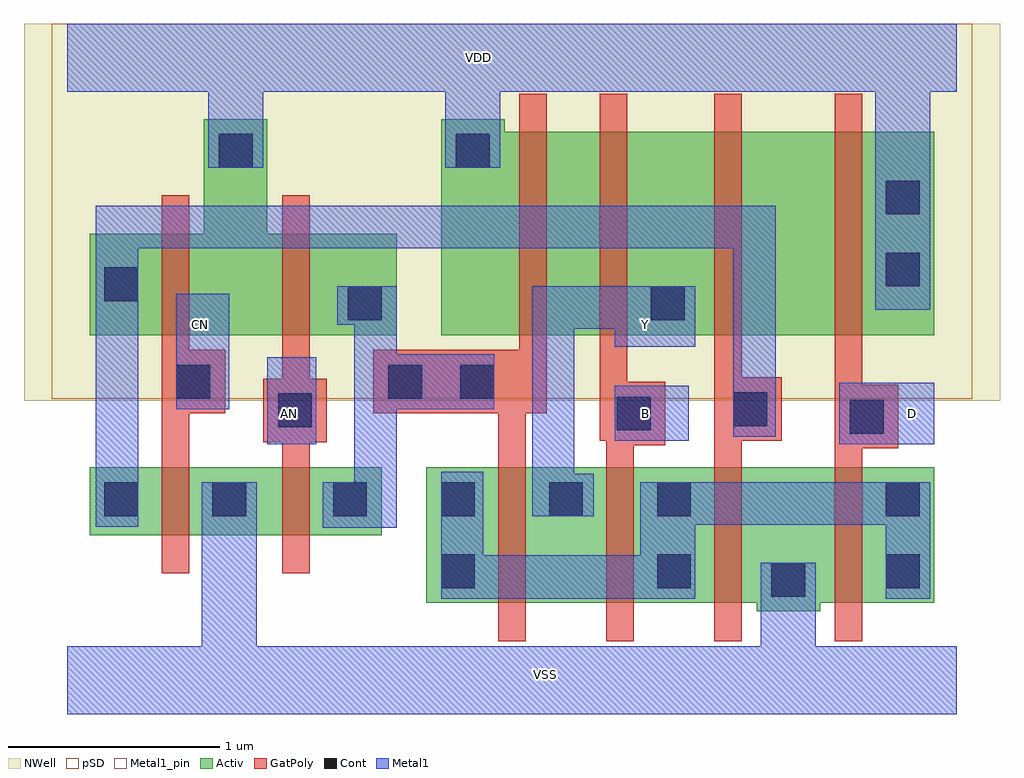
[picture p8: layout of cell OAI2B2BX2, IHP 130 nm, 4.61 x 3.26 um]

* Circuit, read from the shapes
.subckt OAI2B2BX2 AN B CN D VDD VSS Y
XM1 VSS CN n1 VSUBS sg13_lv_nmos w=0.32u l=0.13u
XM2 n2 AN VSS VSUBS sg13_lv_nmos w=0.32u l=0.13u
XM3 Y n2 n3 VSUBS sg13_lv_nmos w=0.64u l=0.13u
XM4 n3 B Y VSUBS sg13_lv_nmos w=0.64u l=0.13u
XM5 VSS n1 n3 VSUBS sg13_lv_nmos w=0.64u l=0.13u
XM6 n3 D VSS VSUBS sg13_lv_nmos w=0.64u l=0.13u
XM7 VDD CN n1 n4 sg13_lv_pmos w=0.48u l=0.13u
XM8 n2 AN VDD n4 sg13_lv_pmos w=0.48u l=0.13u
XM9 n5 n2 VDD n4 sg13_lv_pmos w=0.96u l=0.13u
XM10 Y B n5 n4 sg13_lv_pmos w=0.96u l=0.13u
XM11 n6 n1 Y n4 sg13_lv_pmos w=0.96u l=0.13u
XM12 VDD D n6 n4 sg13_lv_pmos w=0.96u l=0.13u
.ends

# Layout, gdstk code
import gdstk
lib = gdstk.Library(unit=1e-6, precision=1e-09)
def R(c, l, rs):  # rectangles x0, y0, x1, y1
    for r in rs: c.add(gdstk.rectangle(r[:2], r[2:], *l))
def A(c, l, x, y, w, h, nx, ny, dx, dy):  # array of equal rectangles
    R(c, l, [(x+i*dx, y+j*dy, x+i*dx+w, y+j*dy+h) for i in range(nx) for j in range(ny)])
def P(c, l, *ps):  # polygons
    for p in ps: c.add(gdstk.Polygon(p, *l))
Activ = (1, 0)
GatPoly = (5, 0)
Cont = (6, 0)
Metal1 = (8, 0)
Metal1_pin = (8, 2)
pSD = (14, 0)
NWell = (31, 0)

oai2b2bx2 = lib.new_cell('OAI2B2BX2')
R(oai2b2bx2, Activ, [(0.105,0.685,1.485,1.005)])
P(oai2b2bx2, Activ, [(3.255,0.325),(3.255,0.365),(1.695,0.365),(1.695,1.005),(4.095,1.005),(4.095,0.365),(3.555,0.365),(3.555,0.325)],
  [(1.765,1.63),(1.765,2.65),(2.065,2.65),(2.065,2.59),(4.095,2.59),(4.095,1.63)],
  [(0.105,1.63),(0.105,2.11),(0.645,2.11),(0.645,2.65),(0.945,2.65),(0.945,2.11),(1.555,2.11),(1.555,1.63)])
P(oai2b2bx2, GatPoly, [(3.625,0.185),(3.625,2.77),(3.755,2.77),(3.755,1.395),(3.925,1.395),(3.925,1.095),(3.755,1.095),(3.755,0.185)],
  [(2.545,0.185),(2.545,1.13),(2.515,1.13),(2.515,2.77),(2.645,2.77),(2.645,1.41),(2.825,1.41),(2.825,1.11),(2.675,1.11),(2.675,0.185)],
  [(1.015,0.505),(1.015,1.125),(0.925,1.125),(0.925,1.425),(1.015,1.425),(1.015,2.29),(1.145,2.29),(1.145,1.425),(1.225,1.425),(1.225,1.125),(1.145,1.125),(1.145,0.505)],
  [(0.445,0.505),(0.445,2.29),(0.575,2.29),(0.575,1.56),(0.745,1.56),(0.745,1.26),(0.575,1.26),(0.575,0.505)],
  [(3.055,0.185),(3.055,2.77),(3.185,2.77),(3.185,1.43),(3.375,1.43),(3.375,1.13),(3.185,1.13),(3.185,0.185)],
  [(2.035,0.185),(2.035,1.26),(1.445,1.26),(1.445,1.56),(2.135,1.56),(2.135,2.77),(2.265,2.77),(2.265,1.26),(2.165,1.26),(2.165,0.185)])
A(oai2b2bx2, Cont, 1.255, 0.775, 0.16, 0.16, 4, 1, 0.51, 0)
R(oai2b2bx2, Cont, [(3.325,0.395,3.485,0.555), (1.765,0.435,1.925,0.595), (2.785,0.435,2.945,0.595), (3.865,0.435,4.025,0.595), (0.175,0.775,0.335,0.935), (0.685,0.775,0.845,0.935), (3.865,0.775,4.025,0.935), (3.695,1.165,3.855,1.325), (2.595,1.18,2.755,1.34), (0.995,1.195,1.155,1.355), (3.145,1.2,3.305,1.36), (0.515,1.33,0.675,1.49), (1.515,1.33,1.675,1.49), (1.855,1.33,2.015,1.49), (1.325,1.7,1.485,1.86), (2.755,1.7,2.915,1.86), (0.175,1.79,0.335,1.95), (3.865,1.86,4.025,2.02), (3.865,2.2,4.025,2.36), (0.715,2.42,0.875,2.58), (1.835,2.42,1.995,2.58)])
R(oai2b2bx2, Metal1, [(0.945,1.115,1.175,1.525), (3.645,1.115,4.095,1.405), (2.585,1.13,2.935,1.39), (0.515,1.28,0.765,1.825)])
P(oai2b2bx2, Metal1, [(3.815,1.75),(3.815,2.78),(2.045,2.78),(2.045,2.42),(1.785,2.42),(1.785,2.78),(0.925,2.78),(0.925,2.42),(0.665,2.42),(0.665,2.78),(0,2.78),(0,3.1),(4.2,3.1),(4.2,2.78),(4.075,2.78),(4.075,1.75)],
  [(2.195,0.775),(2.195,1.86),(2.965,1.86),(2.965,1.575),(2.585,1.575),(2.585,1.66),(2.395,1.66),(2.395,0.975),(2.485,0.975),(2.485,0.775)],
  [(0,-0.16),(0,0.16),(0.635,0.16),(0.635,0.935),(0.895,0.935),(0.895,0.16),(3.275,0.16),(3.275,0.555),(3.535,0.555),(3.535,0.16),(4.2,0.16),(4.2,-0.16)],
  [(1.765,0.385),(1.765,0.985),(1.965,0.985),(1.965,0.59),(2.705,0.59),(2.705,0.935),(4.075,0.935),(4.075,0.385),(3.865,0.385),(3.865,0.735),(2.965,0.735),(2.965,0.385)],
  [(0.135,0.725),(0.135,2.24),(3.345,2.24),(3.345,1.15),(3.145,1.15),(3.145,2.04),(0.335,2.04),(0.335,0.725)],
  [(1.205,0.72),(1.205,0.935),(1.355,0.935),(1.355,1.68),(1.275,1.68),(1.275,1.86),(1.555,1.86),(1.555,1.54),(2.015,1.54),(2.015,1.28),(1.555,1.28),(1.555,0.72)])
R(oai2b2bx2, Metal1_pin, [(0.945,1.115,1.175,1.525), (3.645,1.115,4.095,1.405), (2.585,1.13,2.935,1.39), (0.515,1.28,0.765,1.825)])
P(oai2b2bx2, Metal1_pin, [(3.815,1.75),(3.815,2.78),(2.045,2.78),(2.045,2.42),(1.785,2.42),(1.785,2.78),(0.925,2.78),(0.925,2.42),(0.665,2.42),(0.665,2.78),(0,2.78),(0,3.1),(4.2,3.1),(4.2,2.78),(4.075,2.78),(4.075,1.75)],
  [(2.195,0.775),(2.195,1.86),(2.965,1.86),(2.965,1.575),(2.585,1.575),(2.585,1.66),(2.395,1.66),(2.395,0.975),(2.485,0.975),(2.485,0.775)],
  [(0,-0.16),(0,0.16),(0.635,0.16),(0.635,0.935),(0.895,0.935),(0.895,0.16),(3.275,0.16),(3.275,0.555),(3.535,0.555),(3.535,0.16),(4.2,0.16),(4.2,-0.16)])
R(oai2b2bx2, pSD, [(-0.075,1.33,4.275,3.1)])
R(oai2b2bx2, NWell, [(-0.205,1.32,4.405,3.1)])
oai2b2bx2.add(gdstk.Label('D', (3.99,1.26), layer=8, texttype=25))
oai2b2bx2.add(gdstk.Label('CN', (0.63,1.68), layer=8, texttype=25))
oai2b2bx2.add(gdstk.Label('AN', (1.05,1.26), layer=8, texttype=25))
oai2b2bx2.add(gdstk.Label('VDD', (1.94,2.94), layer=8, texttype=25))
oai2b2bx2.add(gdstk.Label('Y', (2.73,1.68), layer=8, texttype=25))
oai2b2bx2.add(gdstk.Label('B', (2.73,1.26), layer=8, texttype=25))
oai2b2bx2.add(gdstk.Label('VSS', (2.26,0.025), layer=8, texttype=25))

lib.write_gds('OAI2B2BX2.gds')
